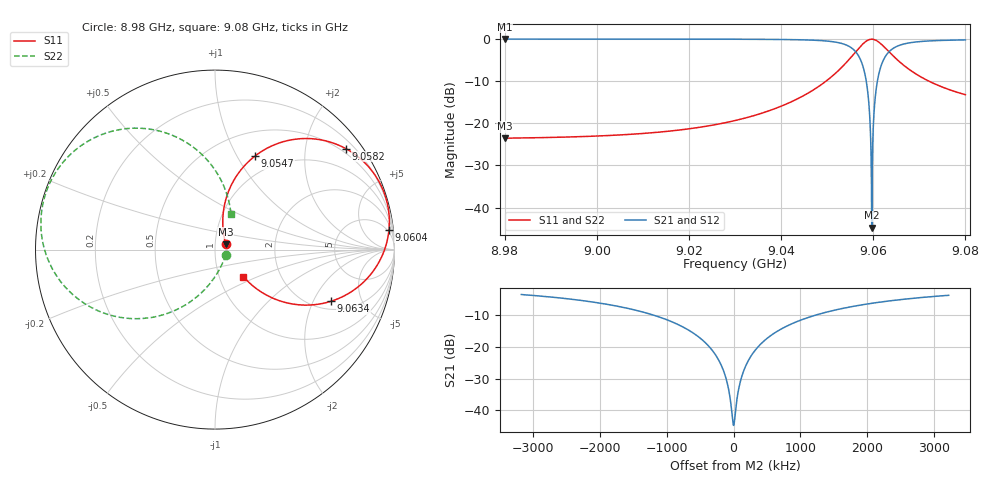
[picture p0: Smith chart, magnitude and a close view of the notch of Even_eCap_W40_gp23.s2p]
! Sonnet Data File
! From: emgraph Version : 16.52
! From Project: Resonator2_extremeCap
! Data is De-embedded
! Data File Written: 10/10/2017 20:29:22
!< HDATE 10/09/2017 23:04:37
!< MDATE 10/09/2017 23:04:37
!< PARAMS
!< Pwid1 = 2000.0
!< Pwid2 = 2000.0
!< Air_gap = 24.0
!< Width = 40.0
!< Gap = 23.0
!< END PARAMS
# GHZ S MA R 51.80000
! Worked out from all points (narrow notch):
!   1594 points, 8.98 GHz to 9.08 GHz, reference 51.8 ohm
!   highest |S21| = -0.02 dB at 8.98 GHz (marker M1); lowest = -44.8 dB at 9.0597 GHz (marker M2)
!   notch at M2: 44.4 dB deep, 538 kHz wide at half that depth
!   lowest |S11| = -23.5 dB at 8.98 GHz (marker M3), VSWR 1.14, Z = 58.3 + j3.37 ohm
!   |S11| at or under -10 dB: start of sweep to 9.0498 GHz; 9.072072 GHz to end of sweep
!   |S22| runs from -23.5 to -0.1 dB; largest |S21 - S12| = 0
!   S11 on the Smith chart (normalised r, x): 8.98 GHz: 1.13, +0.07; 9.0547 GHz: 0.77, +1.19; 9.0582 GHz: 0.39, +2.88; 9.0604 GHz: 4, +17; 9.0634 GHz: 2.40, -2.77; 9.08 GHz: 1.30, -0.41
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8.98  0.06656 25.6  0.9978 -90.4  0.9978 -90.4  0.06653 -26.4
!< P1 F=8.98 Eeff=(6.44310582 -2.9702e-5) Z0=(50.4815179 1.16466e-4) R=0.0 C=0.0
!< P2 F=8.98 Eeff=(6.44310582 -2.9702e-5) Z0=(50.4815179 1.16466e-4) R=0.0 C=0.0
8.9967  0.0695 34.4  0.9976 -91.2  0.9976 -91.2  0.06946 -36.8
9.0134  0.07842 47.3  0.9969 -92.6  0.9969 -92.6  0.07836 -52.5
9.03  0.1077 64.3  0.9941 -95.2  0.9941 -95.2  0.1076 -74.8
9.0467  0.2429 78.0  0.9697 -104.1  0.9697 -104.1  0.2426 -106.3
9.051398  0.3745 75.7  0.9263 -112.2  0.9263 -112.2  0.3742 -120.5
9.0547  0.5671 66.9  0.8213 -125.0  0.8213 -125.0  0.5666 -137.3
9.056787  0.7685 53.3  0.6345 -140.7  0.6345 -140.7  0.7679 -155.6
9.058222  0.9207 37.7  0.3778 -157.6  0.3778 -157.6  0.92 -174.5
9.0589  0.9719 28.4  0.212 -166.9  0.212 -166.9  0.9712 174.8
9.0593  0.9891 22.6  0.1046 -171.5  0.1046 -171.5  0.9883 168.1
9.05955  0.9939 18.9  0.03621 -169.4  0.03621 -169.4  0.9932 163.9
9.059617  0.9944 17.9  0.01799 -160.9  0.01799 -160.9  0.9937 162.7
9.059679  0.9946 17.0  0.005777 -91.2  0.005777 -91.2  0.9938 161.7
9.059768  0.9943 15.7  0.02525 -15.3  0.02525 -15.3  0.9935 160.2
9.059901  0.9928 13.7  0.06139 -9.6  0.06139 -9.6  0.992 157.9
9.060103  0.988 10.8  0.1158 -10.2  0.1158 -10.2  0.9872 154.6
9.0604  0.9758 6.5  0.1938 -13.5  0.1938 -13.5  0.9751 149.7
9.0615  0.892 -7.5  0.4426 -27.7  0.4426 -27.7  0.8914 133.4
9.0634  0.7075 -24.0  0.7031 -45.8  0.7031 -45.8  0.707 113.0
9.0687  0.4028 -40.7  0.9145 -67.3  0.9145 -67.3  0.4025 86.3
9.08  0.2183 -43.6  0.9757 -78.9  0.9757 -78.9  0.2182 65.9
